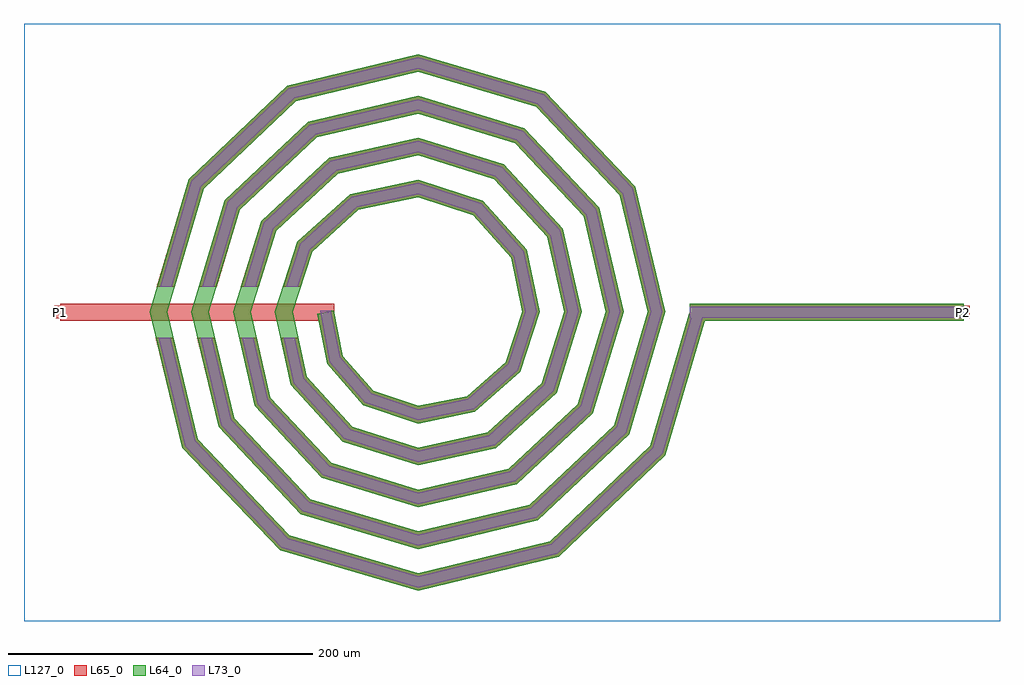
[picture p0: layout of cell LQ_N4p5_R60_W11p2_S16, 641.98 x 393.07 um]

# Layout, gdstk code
import gdstk
lib = gdstk.Library(unit=1e-6, precision=1e-09)
def R(c, l, rs):  # rectangles x0, y0, x1, y1
    for r in rs: c.add(gdstk.rectangle(r[:2], r[2:], *l))
def P(c, l, *ps):  # polygons
    for p in ps: c.add(gdstk.Polygon(p, *l))
L64_0 = (64, 0)
L65_0 = (65, 0)
L73_0 = (73, 0)
L127_0 = (127, 0)

lq_n4p5_r60_w11p2_s16 = lib.new_cell('LQ_N4p5_R60_W11p2_S16')
R(lq_n4p5_r60_w11p2_s16, L64_0, [(178.894,-5.6,358.894,5.6)])
P(lq_n4p5_r60_w11p2_s16, L64_0, [(-49.336,-28.938),(-29.415,-51.707),(0.367,-61.779),(32.343,-55.31),(57.644,-32.884),(68.656,0.333),(61.281,35.754),(36.349,63.585),(0.305,75.533),(-39.169,67.25),(-69.528,39.809),(-82.409,0.281),(-73.217,-42.588),(-43.266,-75.473),(0.261,-89.287),(46.01,-79.183),(81.42,-46.72),(96.164,0.243),(85.147,49.434),(50.173,87.368),(0.228,103.042),(-52.86,91.111),(-93.317,53.624),(-109.919,0.214),(-97.073,-56.288),(-57.074,-99.267),(0.202,-116.797),(59.717,-103.035),(105.218,-60.522),(123.675,0.192),(108.997,63.147),(63.97,111.169),(0.182,130.553),(-66.577,114.958),(-117.121,67.417),(-137.431,0.173),(-120.919,-70.009),(-70.863,-123.073),(0.165,-144.308),(73.441,-126.879),(129.026,-74.308),(151.186,0.158),(132.839,76.874),(77.753,134.979),(0.151,158.064),(-80.308,138.798),(-140.932,81.197),(-164.942,0.145),(-144.758,-83.741),(-84.641,-146.886),(0.14,-171.82),(87.176,-150.717),(152.84,-88.085),(179.12,1.575),(189.868,-1.575),(162.743,-94.117),(92.733,-160.894),(0.14,-183.412),(-90.682,-156.783),(-154.94,-89.289),(-176.534,0.145),(-150.824,87.248),(-85.845,148.987),(0.151,169.656),(83.815,144.864),(143.033,82.4),(162.778,0.158),(138.904,-80.381),(78.955,-137.08),(0.165,-155.899),(-76.949,-132.943),(-131.127,-75.509),(-149.021,0.173),(-126.983,73.517),(-72.063,125.174),(0.182,142.143),(70.085,121.021),(119.222,68.616),(135.265,0.192),(115.059,-66.655),(65.168,-113.271),(0.202,-128.386),(-63.225,-109.097),(-107.319,-61.718),(-121.508,0.214),(-103.134,59.797),(-58.268,101.369),(0.228,114.629),(56.37,97.17),(95.419,54.816),(107.751,0.243),(91.205,-52.944),(51.362,-89.471),(0.261,-100.872),(-49.521,-85.238),(-83.523,-47.906),(-93.993,0.281),(-79.27,46.1),(-44.447,77.577),(0.305,87.114),(42.682,73.3),(71.632,40.984),(80.234,0.333),(67.327,-39.268),(37.517,-65.69),(0.367,-73.355),(-35.859,-61.351),(-59.751,-34.043),(-66.185,-1.073),(-55.193,1.073)])
R(lq_n4p5_r60_w11p2_s16, L65_0, [(-235.089,-5.6,-55.089,5.6), (178.894,-5.6,358.894,5.6), (-239.089,-4,-231.089,4), (354.894,-4,362.894,4)])
P(lq_n4p5_r60_w11p2_s16, L65_0, [(-144.758,-83.742),(-84.641,-146.886),(0.14,-171.82),(87.176,-150.717),(152.84,-88.085),(179.12,1.575),(189.868,-1.575),(162.743,-94.117),(92.733,-160.894),(0.14,-183.412),(-90.682,-156.784),(-154.94,-89.289),(-172.443,-16.8),(-160.921,-16.8)],
  [(-120.919,-70.009),(-70.863,-123.073),(0.165,-144.308),(73.441,-126.879),(129.026,-74.308),(151.186,0.158),(132.839,76.874),(77.753,134.979),(0.151,158.064),(-80.308,138.799),(-140.932,81.197),(-159.94,16.8),(-171.618,16.8),(-150.824,87.248),(-85.845,148.987),(0.151,169.656),(83.815,144.864),(143.033,82.4),(162.778,0.158),(138.904,-80.381),(78.955,-137.08),(0.165,-155.9),(-76.949,-132.943),(-131.127,-75.509),(-145.008,-16.8),(-133.499,-16.8)],
  [(-97.073,-56.288),(-57.074,-99.267),(0.202,-116.797),(59.717,-103.035),(105.218,-60.522),(123.675,0.192),(108.997,63.147),(63.97,111.169),(0.182,130.553),(-66.578,114.958),(-117.121,67.417),(-132.33,16.8),(-144.025,16.8),(-126.983,73.517),(-72.063,125.174),(0.182,142.143),(70.085,121.021),(119.222,68.616),(135.265,0.192),(115.059,-66.655),(65.168,-113.271),(0.202,-128.386),(-63.225,-109.097),(-107.319,-61.718),(-117.61,-16.8),(-106.12,-16.8)],
  [(-73.217,-42.588),(-43.266,-75.473),(0.261,-89.287),(46.01,-79.183),(81.42,-46.721),(96.164,0.243),(85.147,49.434),(50.173,87.368),(0.228,103.042),(-52.86,91.111),(-93.317,53.624),(-104.673,16.8),(-116.393,16.8),(-103.134,59.797),(-58.268,101.369),(0.228,114.629),(56.37,97.17),(95.419,54.816),(107.751,0.243),(91.205,-52.944),(51.362,-89.471),(0.261,-100.872),(-49.521,-85.238),(-83.523,-47.906),(-90.282,-16.8),(-78.82,-16.8)],
  [(-29.415,-51.707),(0.367,-61.779),(32.343,-55.31),(57.644,-32.884),(68.656,0.333),(61.281,35.754),(36.349,63.585),(0.305,75.533),(-39.169,67.25),(-69.528,39.809),(-76.921,16.8),(-88.685,16.8),(-79.27,46.1),(-44.447,77.577),(0.305,87.114),(42.682,73.3),(71.632,40.984),(80.234,0.333),(67.327,-39.268),(37.517,-65.69),(0.367,-73.355),(-35.859,-61.351),(-59.751,-34.043),(-66.185,-1.073),(-55.193,1.073),(-49.336,-28.938)])
R(lq_n4p5_r60_w11p2_s16, L73_0, [(178.894,-3.6,358.894,3.6)])
P(lq_n4p5_r60_w11p2_s16, L73_0, [(-146.576,-84.732),(-85.72,-148.653),(0.09,-173.89),(88.168,-152.535),(154.608,-89.162),(181.04,1.013),(187.949,-1.013),(160.974,-93.04),(91.741,-159.077),(0.09,-181.342),(-89.604,-155.016),(-153.122,-88.299),(-170.385,-16.8),(-162.978,-16.8)],
  [(-122.742,-70.991),(-71.949,-124.836),(0.106,-146.378),(74.426,-128.701),(130.79,-75.393),(153.256,0.102),(134.659,77.861),(78.835,136.744),(0.097,160.134),(-81.297,140.618),(-142.699,82.278),(-162.026,16.8),(-169.533,16.8),(-149.058,86.168),(-84.856,147.167),(0.097,167.586),(82.732,143.099),(141.213,81.414),(160.708,0.102),(137.14,-79.297),(77.971,-135.258),(0.106,-153.83),(-75.862,-131.181),(-129.304,-74.527),(-142.953,-16.8),(-135.554,-16.8)],
  [(-98.903,-57.258),(-58.172,-101.022),(0.13,-118.867),(60.69,-104.863),(106.975,-61.617),(125.744,0.123),(110.823,64.123),(65.062,112.928),(0.117,132.622),(-67.557,116.782),(-118.882,68.506),(-134.419,16.8),(-141.937,16.8),(-125.222,72.427),(-71.083,123.35),(0.117,140.073),(68.993,119.262),(117.396,67.639),(133.195,0.123),(113.302,-65.56),(64.194,-111.443),(0.13,-126.317),(-62.127,-107.342),(-105.49,-60.749),(-115.558,-16.8),(-108.172,-16.8)],
  [(-75.057,-43.538),(-44.383,-77.217),(0.168,-91.356),(46.966,-81.02),(83.167,-47.832),(98.233,0.156),(86.981,50.395),(51.28,89.118),(0.146,105.111),(-53.826,92.943),(-95.07,54.726),(-106.766,16.8),(-114.3,16.8),(-101.381,58.695),(-57.302,99.537),(0.146,112.56),(55.263,95.419),(93.585,53.855),(105.682,0.156),(89.457,-51.833),(50.406,-87.634),(0.168,-98.803),(-48.404,-83.494),(-81.683,-46.956),(-88.235,-16.8),(-80.867,-16.8)],
  [(-30.566,-53.429),(0.236,-63.846),(33.267,-57.164),(59.373,-34.024),(70.723,0.214),(63.13,36.688),(37.48,65.32),(0.196,77.601),(-40.112,69.094),(-71.267,40.932),(-79.022,16.8),(-86.584,16.8),(-77.531,44.976),(-43.504,75.733),(0.196,85.046),(41.551,71.565),(69.784,40.05),(78.167,0.214),(65.598,-38.128),(36.593,-63.837),(0.236,-71.288),(-34.709,-59.629),(-57.891,-33.132),(-64.222,0.69),(-57.156,0.69),(-51.196,-29.85)])
R(lq_n4p5_r60_w11p2_s16, L127_0, [(-259.089,-203.412,382.894,189.656)])
lq_n4p5_r60_w11p2_s16.add(gdstk.Label('P2', (358.894,0), layer=65, texttype=0))
lq_n4p5_r60_w11p2_s16.add(gdstk.Label('P1', (-235.089,0), layer=65, texttype=0))
lq_n4p5_r60_w11p2_s16.add(gdstk.Label('P2', (362.894,0), layer=145, texttype=0))
lq_n4p5_r60_w11p2_s16.add(gdstk.Label('P1', (-239.089,0), layer=145, texttype=0))

lib.write_gds('LQ_N4p5_R60_W11p2_S16.gds')
